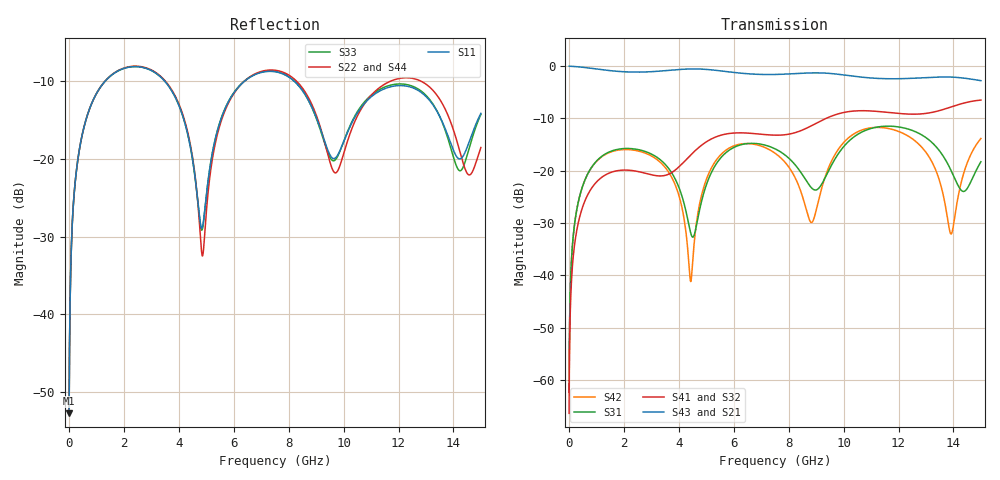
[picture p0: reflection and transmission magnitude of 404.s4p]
! Created with skrf 1.8.0 (http://scikit-rf.org).
# GHz S RI R 50.0
!freq ReS11 ImS11 ReS12 ImS12 ReS13 ImS13
! ReS14 ImS14
! ReS21 ImS21 ReS22 ImS22 ReS23 ImS23
! ReS24 ImS24
! ReS31 ImS31 ReS32 ImS32 ReS33 ImS33
! ReS34 ImS34
! ReS41 ImS41 ReS42 ImS42 ReS43 ImS43
! ReS44 ImS44
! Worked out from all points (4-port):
!   2499 points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, 5 MHz to 15 GHz, reference 50 ohm
!   strongest paths, dB at 5 MHz, 3.476 GHz, 7.19 GHz, 11.1 GHz, 15 GHz:
!     S43: 0.0, -0.9, -1.6, -2.3, -2.8
!     S21: 0.0, -0.9, -1.6, -2.3, -2.8
!     S41: -66.4, -20.9, -13.1, -8.6, -6.5
!     S32: -66.4, -21.0, -13.2, -8.7, -6.5
!     S31: -62.3, -18.6, -15.2, -11.8, -18.3
!     S42: -62.3, -19.2, -15.7, -11.7, -13.8
!   lowest |S11| = -52.7 dB at 5 MHz (marker M1), VSWR 1.00, Z = 50.2 + j0.141 ohm
!   |S11| at or under -10 dB: start of sweep to 1.332 GHz; 3.474 GHz to 6.413 GHz (2.939 GHz wide, 59.4 % of centre); 8.184 GHz to end of sweep
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0.005  0.00185 0.0014  0.9981 -0.0036  9.45e-05 0.000759  -9.15e-05 -0.000472
       0.9981 -0.0036  0.00185 0.0014  -9.15e-05 -0.000472  9.44e-05 0.000759
       9.45e-05 0.000759  -9.15e-05 -0.000472  0.00185 0.0014  0.9981 -0.0036
       -9.15e-05 -0.000472  9.44e-05 0.000759  0.9981 -0.0036  0.00185 0.0014
0.3126303  0.0294 0.0911  0.9596 -0.2227  0.0145 0.0443  -0.0117 -0.0271
           0.9596 -0.2227  0.0295 0.0911  -0.0117 -0.0271  0.0139 0.0444
           0.0145 0.0443  -0.0117 -0.0271  0.0294 0.0911  0.9596 -0.2226
           -0.0117 -0.0271  0.0139 0.0444  0.9596 -0.2226  0.0295 0.0911
1.419341  0.2782 0.1736  0.5278 -0.7406  0.1381 0.0565  -0.0939 -0.00237
          0.5278 -0.7406  0.2805 0.1721  -0.0936 -0.00265  0.1322 0.0649
          0.1381 0.0565  -0.0936 -0.00265  0.2784 0.1735  0.5278 -0.7406
          -0.0939 -0.00237  0.1322 0.0649  0.5278 -0.7406  0.2803 0.1722
4.433097  0.0616 -0.0986  -0.8797 -0.3281  -0.022 -0.0127  -0.0431 0.1347
          -0.8797 -0.3281  0.0516 -0.1079  -0.0468 0.1334  0.0086 0.00146
          -0.022 -0.0127  -0.0468 0.1334  0.0605 -0.0987  -0.8798 -0.3282
          -0.0431 0.1347  0.0086 0.00146  -0.8798 -0.3282  0.0524 -0.1072
7.334306  0.3633 0.00211  -0.0886 0.8256  0.1463 -0.0851  0.215 -0.0447
          -0.0886 0.8256  0.3705 -0.00114  0.2141 -0.0357  0.1452 -0.0597
          0.1463 -0.0851  0.2141 -0.0357  0.3646 0.000429  -0.0891 0.8256
          0.215 -0.0447  0.1452 -0.0597  -0.0891 0.8256  0.3687 0.000664
10.00417  0.1209 0.0437  0.8224 -0.0309  0.0377 0.1658  -0.0442 -0.3576
          0.8224 -0.0309  0.0993 0.042  -0.0272 -0.3589  0.0527 0.1786
          0.0377 0.1658  -0.0272 -0.3589  0.1198 0.0477  0.8225 -0.0301
          -0.0442 -0.3576  0.0527 0.1786  0.8225 -0.0301  0.0999 0.0391
15  0.1659 0.1028  -0.7255 0.00507  0.0328 0.1172  0.0597 0.4695
    -0.7255 0.00507  0.1079 0.0475  0.0226 0.4726  0.1355 0.1514
    0.0328 0.1172  0.0226 0.4726  0.1554 0.1132  -0.7256 0.00333
    0.0597 0.4695  0.1355 0.1514  -0.7256 0.00333  0.1129 0.0441
